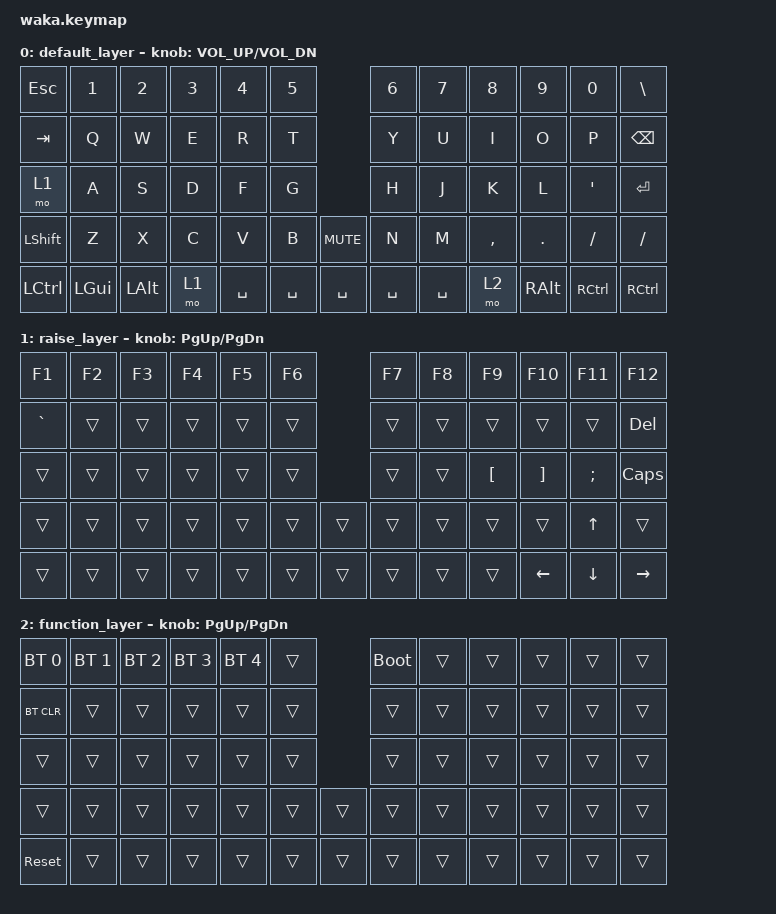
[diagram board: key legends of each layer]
  /*
  * Copyright (c) 2020 The ZMK Contributors
  *
  * SPDX-License-Identifier: MIT
  */

#include <behaviors.dtsi>
#include <dt-bindings/zmk/keys.h>
#include <dt-bindings/zmk/bt.h>
#include <dt-bindings/zmk/ext_power.h>
// #include <dt-bindings/zmk/rgb.h>


#define DEFAULT  0
#define RAISE    1
#define FUNCTION 2


&encoder_1 {
    status = "okay";
};

/ {
    sensors {
        compatible = "zmk,keymap-sensors";
        sensors = <&encoder_1>;
    };

    keymap {
    compatible = "zmk,keymap";
        default_layer {
		
		// layer 0 ----------------------------------------------------------------------------------------------------------------------------
		// |   ESC   |    1    |    2    |    3    |    4    |    5    |---------|    6    |    7    |    8    |    9    |    0    |    \    |
		// |   TAB   |    Q    |    W    |    E    |    R    |    T    |---------|    Y    |    U    |    I    |    O    |    P    |BACKSPACE|
		// |  Mo(1)  |    A    |    S    |    D    |    F    |    G    |---------|    H    |    J    |    K    |    L    |    '    |  ENTER  |
		// |  SHIFT  |    Z    |    X    |    C    |    V    |    B    |Vol+-mute|    N    |    M    |    ,    |    .    |    /    |  SHIFT  |
		// |  CTRL   |   WIN   |   ALT   |  Mo(1)  |  SPACE  |  SPACE  |  SPACE  |  SPACE  |  SPACE  |  Mo(2)  |   ALT   |   CTRL  |   CTRL  |
		
            bindings = <
        &kp ESC     &kp N1      &kp N2      &kp N3      &kp N4      &kp N5                &kp N6    &kp N7    &kp N8    &kp N9     &kp N0              &kp BACKSLASH 
        &kp TAB     &kp Q       &kp W       &kp E       &kp R       &kp T                 &kp Y     &kp U     &kp I     &kp O      &kp P               &kp BACKSPACE 
        &mo 1       &kp A       &kp S       &kp D       &kp F       &kp G                 &kp H     &kp J     &kp K     &kp L      &kp SINGLE_QUOTE    &kp ENTER 
        &kp LSHIFT  &kp Z       &kp X       &kp C       &kp V       &kp B     &kp C_MUTE  &kp N     &kp M     &kp COMMA &kp DOT    &kp SLASH           &kp SLASH
        &kp LCTRL   &kp LGUI    &kp LALT    &mo 1       &kp SPACE   &kp SPACE  &kp SPACE  &kp SPACE &kp SPACE &mo 2     &kp RALT   &kp RCTRL           &kp RCTRL
            >;
            sensor-bindings = <&inc_dec_kp C_VOL_UP C_VOL_DN>;
        };
        raise_layer {

		// layer 1 ----------------------------------------------------------------------------------------------------------------------------
		// |   F1    |    F2   |    F3   |    F4   |    F5   |    F6   |---------|    F7   |    F8   |    F9   |   F10   |   F11   |   F12   |
		// |    `    |         |         |         |         |         |---------|         |         |         |         |         |  DELETE |
		// |         |         |         |         |         |         |---------|         |         |         |         |         |         |
		// |         |         |         |         |         |         |         |         |         |         |         |         |         |
		// |         |         |         |         |         |         |         |         |         |         |         |         |         |

            bindings = <
        &kp F1      &kp F2      &kp F3      &kp F4      &kp F5      &kp F6                   &kp F7      &kp F8      &kp F9      &kp F10     &kp F11     &kp F12 
        &kp GRAVE   &trans      &trans      &trans      &trans      &trans                   &trans      &trans      &trans      &trans      &trans      &kp DEL
        &trans      &trans      &trans      &trans      &trans      &trans                   &trans      &trans      &kp LBKT    &kp RBKT    &kp SEMI    &kp CAPS 
        &trans      &trans      &trans      &trans      &trans      &trans  &trans           &trans      &trans      &trans      &trans      &kp UP      &trans
        &trans      &trans      &trans      &trans      &trans      &trans  &trans           &trans      &trans      &trans      &kp LEFT    &kp DOWN    &kp RIGHT
            >;
            sensor-bindings = <&inc_dec_kp PG_UP PG_DN>;
		};
		function_layer {
		
		// layer 2 ----------------------------------------------------------------------------------------------------------------------------
		// |  BT 0   |  BT 1   |  BT 2   |  BT 3   |  BT 4   |         |---------|  FLASH  |         |         |         |         |         |
		// | BT Clr  |         |         |         |         |         |---------|         |         |         |         |         |         |
		// |         |         |         |         |         |         |---------|         |         |         |         |         |         |
		// |         |         |         |         |         |         | Encoder |         |         |         |         |         |         |
		// |  Reset  |         |         |         |         |         |         |         |         |         |         |         |         |

            bindings = <
        &bt BT_SEL 0 &bt BT_SEL 1 &bt BT_SEL 2 &bt BT_SEL 3 &bt BT_SEL 4 &trans                  &bootloader &trans      &trans      &trans      &trans      &trans 
        &bt BT_CLR   &trans       &trans       &trans       &trans       &trans                  &trans      &trans      &trans      &trans      &trans      &trans
        &trans       &trans       &trans       &trans       &trans       &trans                  &trans      &trans      &trans      &trans      &trans      &trans
        &trans       &trans       &trans       &trans       &trans       &trans      &trans      &trans      &trans      &trans      &trans      &trans      &trans
        &sys_reset   &trans       &trans       &trans       &trans       &trans      &trans      &trans      &trans      &trans      &trans      &trans      &trans
            >;
            sensor-bindings = <&inc_dec_kp PG_UP PG_DN>;
        };
    };
};
